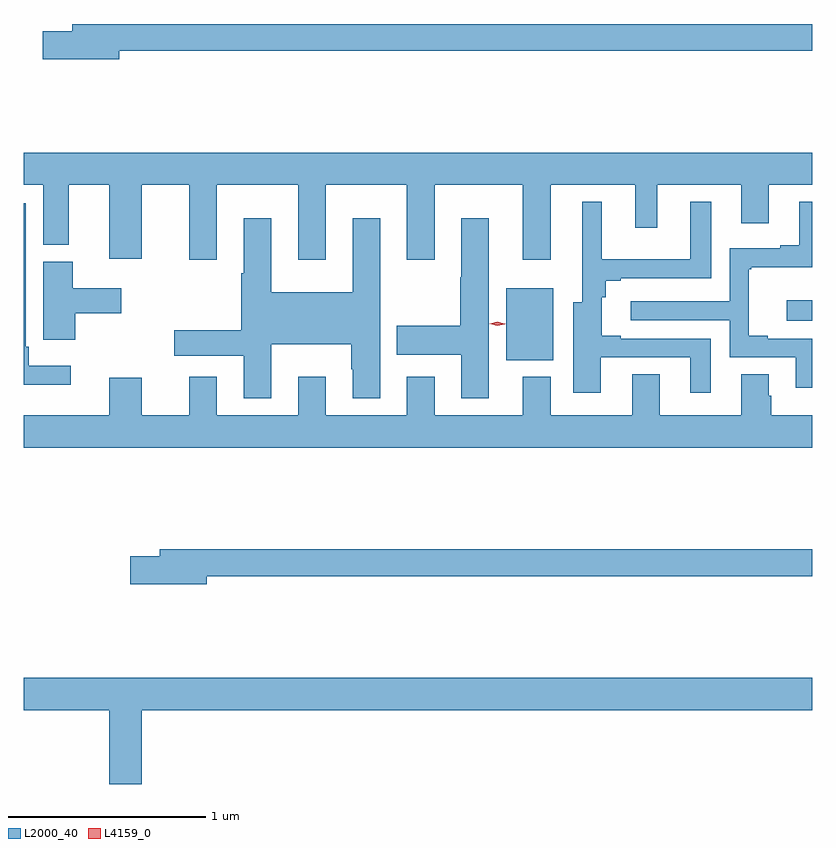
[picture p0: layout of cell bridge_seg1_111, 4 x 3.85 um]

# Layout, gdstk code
import gdstk
lib = gdstk.Library(unit=1e-6, precision=1e-09)
def R(c, l, rs):  # rectangles x0, y0, x1, y1
    for r in rs: c.add(gdstk.rectangle(r[:2], r[2:], *l))
def P(c, l, *ps):  # polygons
    for p in ps: c.add(gdstk.Polygon(p, *l))
L2000_40 = (2000, 40)
L4159_0 = (4159, 0)

bridge_seg1_111 = lib.new_cell('bridge_seg1_111')
R(bridge_seg1_111, L2000_40, [(322.865,505.556,323.104,505.921), (324.288,505.754,324.417,505.858)])
P(bridge_seg1_111, L2000_40, [(320.902,507.124),(324.417,507.124),(324.417,507.26),(320.663,507.26),(320.663,507.224),(320.514,507.224),(320.514,507.082),(320.902,507.082)],
  [(321.397,506.444),(321.809,506.444),(321.809,506.064),(321.949,506.064),(321.949,506.444),(322.361,506.444),(322.361,506.064),(322.501,506.064),(322.501,506.444),(322.949,506.444),(322.949,506.064),(323.089,506.064),(323.089,506.444),(323.519,506.444),(323.519,506.226),(323.629,506.226),(323.629,506.444),(324.056,506.444),(324.056,506.25),(324.196,506.25),(324.196,506.444),(324.417,506.444),(324.417,506.608),(320.417,506.608),(320.417,506.444),(320.516,506.444),(320.516,506.14),(320.647,506.14),(320.647,506.444),(320.852,506.444),(320.852,506.07),(321.016,506.07),(321.016,506.444),(321.257,506.444),(321.257,506.064),(321.397,506.064)],
  [(324.417,505.665),(324.19,505.665),(324.19,505.678),(324.095,505.678),(324.095,506.016),(324.106,506.016),(324.106,506.027),(324.417,506.027),(324.417,506.359),(324.35,506.359),(324.35,506.137),(324.254,506.137),(324.254,506.124),(323.997,506.124),(323.997,505.854),(323.496,505.854),(323.496,505.758),(323.997,505.758),(323.997,505.569),(324.332,505.569),(324.332,505.416),(324.417,505.416)],
  [(323.344,505.569),(323.798,505.569),(323.798,505.389),(323.902,505.389),(323.902,505.665),(323.446,505.665),(323.446,505.678),(323.35,505.678),(323.35,505.874),(323.368,505.874),(323.368,505.959),(323.446,505.959),(323.446,505.971),(323.905,505.971),(323.905,506.359),(323.798,506.359),(323.798,506.068),(323.35,506.068),(323.35,506.359),(323.249,506.359),(323.249,505.849),(323.204,505.849),(323.204,505.389),(323.344,505.389)],
  [(320.656,505.528),(320.443,505.528),(320.443,505.624),(320.427,505.624),(320.427,506.35),(320.417,506.35),(320.417,505.43),(320.656,505.43)],
  [(321.673,505.637),(322.078,505.637),(322.078,505.508),(322.085,505.508),(322.085,505.362),(322.225,505.362),(322.225,506.275),(322.085,506.275),(322.085,505.9),(321.673,505.9),(321.673,506.275),(321.533,506.275),(321.533,505.996),(321.521,505.996),(321.521,505.707),(321.18,505.707),(321.18,505.577),(321.533,505.577),(321.533,505.362),(321.673,505.362)],
  [(322.777,506.275),(322.637,506.275),(322.637,505.976),(322.63,505.976),(322.63,505.731),(322.31,505.731),(322.31,505.583),(322.637,505.583),(322.637,505.362),(322.777,505.362)],
  [(320.678,505.792),(320.911,505.792),(320.911,505.921),(320.665,505.921),(320.665,506.055),(320.516,506.055),(320.516,505.771),(320.517,505.771),(320.517,505.659),(320.678,505.659)],
  [(324.417,505.276),(324.209,505.276),(324.209,505.374),(324.196,505.374),(324.196,505.484),(324.056,505.484),(324.056,505.276),(323.644,505.276),(323.644,505.484),(323.504,505.484),(323.504,505.276),(323.089,505.276),(323.089,505.471),(322.949,505.471),(322.949,505.276),(322.501,505.276),(322.501,505.471),(322.361,505.471),(322.361,505.276),(321.949,505.276),(321.949,505.471),(321.809,505.471),(321.809,505.276),(321.397,505.276),(321.397,505.471),(321.257,505.471),(321.257,505.276),(321.016,505.276),(321.016,505.465),(320.852,505.465),(320.852,505.276),(320.417,505.276),(320.417,505.112),(324.417,505.112)],
  [(321.346,504.46),(324.417,504.46),(324.417,504.596),(321.107,504.596),(321.107,504.56),(320.958,504.56),(320.958,504.418),(321.346,504.418)],
  [(321.016,503.78),(324.417,503.78),(324.417,503.944),(320.417,503.944),(320.417,503.78),(320.852,503.78),(320.852,503.406),(321.016,503.406)])
P(bridge_seg1_111, L4159_0, [(322.82,505.729),(322.782,505.739),(322.782,505.739),(322.782,505.739),(322.82,505.749),(322.858,505.739),(322.859,505.739),(322.858,505.738)])

lib.write_gds('bridge_seg1_111.gds')
